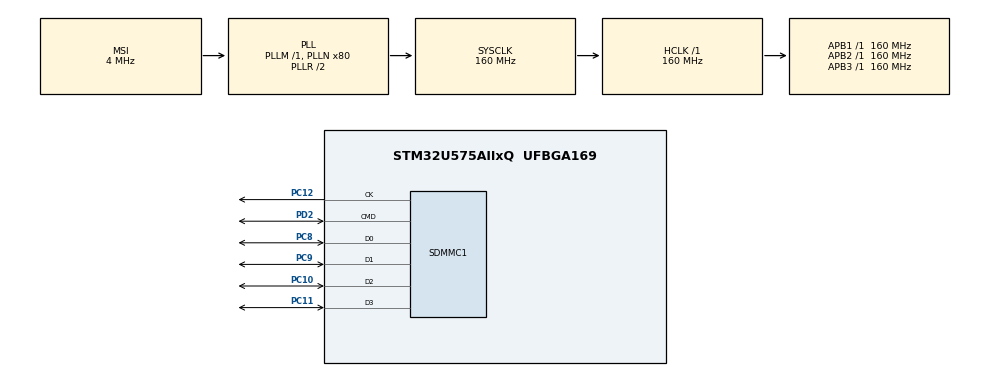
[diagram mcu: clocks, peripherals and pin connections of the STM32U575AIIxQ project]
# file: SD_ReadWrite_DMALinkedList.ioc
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CORTEX_M33_NS.userName=CORTEX_M33
Mcu.Family=STM32U5
Mcu.Name=STM32U575AIIxQ
Mcu.Package=UFBGA169
NVIC.PriorityGroup=NVIC_PRIORITYGROUP_4
NVIC.SDMMC1_IRQn=true\:0\:0\:false\:false\:true\:true\:true\:true
PC10.Mode=SD_4_bits_Wide_bus
PC10.Signal=SDMMC1_D2
PC11.Mode=SD_4_bits_Wide_bus
PC11.Signal=SDMMC1_D3
PC12.Mode=SD_4_bits_Wide_bus
PC12.Signal=SDMMC1_CK
PC8.Mode=SD_4_bits_Wide_bus
PC8.Signal=SDMMC1_D0
PC9.Mode=SD_4_bits_Wide_bus
PC9.Signal=SDMMC1_D1
PD2.Mode=SD_4_bits_Wide_bus
PD2.Signal=SDMMC1_CMD
PWR.PowerMode=PWR_SMPS_SUPPLY
ProjectManager.HeapSize=0x200
ProjectManager.StackSize=0x400
ProjectManager.TargetToolchain=EWARM V8.50
RCC.ADCFreq_Value=16000000
RCC.AHBFreq_Value=160000000
RCC.APB1Freq_Value=160000000
RCC.APB1TimFreq_Value=160000000
RCC.APB2Freq_Value=160000000
RCC.APB2TimFreq_Value=160000000
RCC.APB3Freq_Value=160000000
RCC.CortexFreq_Value=160000000
RCC.DACCLockSelectionVirtual=RCC_DAC1CLKSOURCE_LSI
RCC.DACCLockSelectionVirtualString=RCC_DAC1CLKSOURCE_LSI
RCC.EPOD_VALUE=4000000
RCC.HCLKFreq_Value=160000000
RCC.HSE_VALUE=16000000
RCC.HSI48_VALUE=48000000
RCC.HSI_VALUE=16000000
RCC.LSE_VALUE=32768
RCC.LSIDIV_VALUE=32000
RCC.MSI_VALUE=4000000
RCC.PLLN=80
RCC.SDMMCClockSelection=RCC_SDMMCCLKSOURCE_CLK48
RCC.SYSCLKFreq_VALUE=160000000
RCC.SYSCLKSource=RCC_SYSCLKSOURCE_PLLCLK
RCC.USBFreq_Value=48000000
RCC.VCOOutputFreq_Value=320000000
SDMMC1.ClockDiv=1
SDMMC1.ClockEdge=SDMMC_CLOCK_EDGE_FALLING
VP_ICACHE_VS_ICACHE.Mode=DirectMappedCache
VP_LPBAMQUEUE_VS_QUEUE.Mode=QUEUEMODE
VP_LPBAM_VS_SIG1.Mode=SmartRun
VP_LPBAM_VS_SIG4.Mode=LPDMA1
VP_PWR_VS_DBSignals.Mode=DisableDeadBatterySignals
VP_PWR_VS_LPOM.Mode=PowerOptimisation
VP_PWR_VS_SECSignals.Mode=Security/Privilege
board=custom

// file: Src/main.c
/* USER CODE BEGIN Header */
/**
  ******************************************************************************
  * @file           : main.c
  * @brief          : Main program body
  ******************************************************************************
  * @attention
  *
  * Copyright (c) 2021 STMicroelectronics.
  * All rights reserved.
  *
  * This software is licensed under terms that can be found in the LICENSE file
  * in the root directory of this software component.
  * If no LICENSE file comes with this software, it is provided AS-IS.
  *
  ******************************************************************************
  */
/* USER CODE END Header */
#include "main.h"

/* USER CODE BEGIN PD */
#define DATA_SIZE              ((uint32_t)0x01800000U) /* Data Size 24MB */

#define BUFFER_SIZE            ((uint32_t)0x00000400U) /* 1KB */
#define BUFFER_WORD_SIZE       (BUFFER_SIZE>>2)        /* Buffer size in Word */
#define NB_BLOCK_BUFFER        BUFFER_SIZE / BLOCKSIZE /* Number of Block (512B) by Buffer */
#define BLOCK_WORD_SIZE        (BLOCKSIZE>>2) /* Block size in words */

#define DATA_ADDRESS           ((uint32_t)0x00000000U) /* SD Card Address to write/read data */
#define DATA_PATTERN0          ((uint32_t)0x01000000U) /* Data pattern for buffer0*/
#define DATA_PATTERN1          ((uint32_t)0x02000000U) /* Data pattern for buffer1 */
/* USER CODE END PD */

SD_HandleTypeDef hsd1;

/* USER CODE BEGIN PV */
uint32_t Buffer0[BUFFER_WORD_SIZE];
uint32_t Buffer1[BUFFER_WORD_SIZE];

static SDMMC_DMALinkNodeTypeDef pLinkNode[4];
static SDMMC_DMALinkedListTypeDef Read_LinkedList;
static SDMMC_DMALinkedListTypeDef Write_LinkedList;
SD_DMALinkNodeConfTypeDef LinkNodeConf;
__IO uint8_t TxLnkLstBufCplt, RxLnkLstBufCplt,TxNodeBufCplt,RxNodeBufCplt;

uint32_t Node,RBuff0,RBuff1,WBuff0,WBuff1;
uint32_t ReadError = 0;
/* USER CODE END PV */

void SystemClock_Config(void);
static void SystemPower_Config(void);
static void MX_GPIO_Init(void);
static void MX_ICACHE_Init(void);
static void MX_SDMMC1_SD_Init(void);
/* USER CODE BEGIN PFP */
static void Fill_Buffer(uint32_t *pBuffer, uint16_t BufferLength, uint32_t Offset);
static HAL_StatusTypeDef Buffercmp(uint32_t* pBuffer, uint32_t BufferLength, uint32_t Offset);
void Dynamic_buffer_fill(void);
void Dynamic_buffer_check(void);
/* USER CODE END PFP */

int main(void)
{

  /* MCU Configuration--------------------------------------------------------*/

  /* Reset of all peripherals, Initializes the Flash interface and the Systick. */
  HAL_Init();

  /* Configure the System Power */
  SystemPower_Config();

  /* Configure the system clock */
  SystemClock_Config();

  /* USER CODE BEGIN SysInit */
  /* Add your application code here
     */
 /*##-1- Initialize LEDs mounted on ST32U575I-EV board #####################*/
  BSP_LED_Init(LED_GREEN);
  BSP_LED_Init(LED_BLUE);
  BSP_LED_Init(LED_RED);

  /* USER CODE END SysInit */

  /* Initialize all configured peripherals */
  MX_GPIO_Init();
  MX_ICACHE_Init();
  MX_SDMMC1_SD_Init();
  /* USER CODE BEGIN 2 */
  /* Try to switch to High Speed Mode , if supported by the card */
  HAL_SD_ConfigSpeedBusOperation(&hsd1,SDMMC_SPEED_MODE_HIGH);

  if(HAL_SD_Erase(&hsd1,DATA_ADDRESS,DATA_SIZE/BLOCKSIZE) != HAL_OK)
  {
    Error_Handler();
  }
  /* Wait for the Card Transfer status */
  while(HAL_SD_GetCardState(&hsd1) != HAL_SD_CARD_TRANSFER)
  {
  }
  /* Fill the buffer to send */
  Fill_Buffer(Buffer0, BUFFER_WORD_SIZE, DATA_PATTERN0);
  Fill_Buffer(Buffer1, BUFFER_WORD_SIZE, DATA_PATTERN1);
  /*  Write steps */
  /*Node 0 preparation */
  LinkNodeConf.BufferAddress = (uint32_t) Buffer0;
  LinkNodeConf.BufferSize = BUFFER_SIZE;
  HAL_SDEx_DMALinkedList_BuildNode(&pLinkNode[0], &LinkNodeConf );
  HAL_SDEx_DMALinkedList_InsertNode(&Write_LinkedList, NULL, &pLinkNode[0] );

  /*Node 1 preparation */
  LinkNodeConf.BufferAddress = (uint32_t) Buffer1;
  LinkNodeConf.BufferSize = BUFFER_SIZE;
  HAL_SDEx_DMALinkedList_BuildNode(&pLinkNode[1], &LinkNodeConf );
  HAL_SDEx_DMALinkedList_InsertNode(&Write_LinkedList ,&pLinkNode[0], &pLinkNode[1] );

  /*Enable Circular Linked list mode */
  HAL_SDEx_DMALinkedList_EnableCircularMode(&Write_LinkedList );

  TxLnkLstBufCplt=0;
  TxNodeBufCplt=0;
  BSP_LED_On(LED_BLUE);
  /* Write 24MB  on uSD card using DMA transfer */

  HAL_SDEx_DMALinkedList_WriteBlocks(&hsd1,&Write_LinkedList, DATA_ADDRESS, DATA_SIZE/BLOCKSIZE);

  /* Dynamic buffer filling Process*/
  Dynamic_buffer_fill();

  /* Remove write nodes*/
  HAL_SDEx_DMALinkedList_RemoveNode(&Write_LinkedList,&pLinkNode[1] );
  HAL_SDEx_DMALinkedList_RemoveNode(&Write_LinkedList,&pLinkNode[0] );

  /* Wait for the Card Transfer status */
  while(HAL_SD_GetCardState(&hsd1) != HAL_SD_CARD_TRANSFER)
  {
  }

  /*  Read steps */
  /*Node 0 preparation */
  LinkNodeConf.BufferAddress = (uint32_t) Buffer0;
  LinkNodeConf.BufferSize = BUFFER_SIZE;
  HAL_SDEx_DMALinkedList_BuildNode(&pLinkNode[0], &LinkNodeConf );
  HAL_SDEx_DMALinkedList_InsertNode(&Read_LinkedList, NULL, &pLinkNode[0] );

  /*Node 1 preparation */
  LinkNodeConf.BufferAddress = (uint32_t) Buffer1;
  LinkNodeConf.BufferSize = BUFFER_SIZE;
  HAL_SDEx_DMALinkedList_BuildNode(&pLinkNode[1], &LinkNodeConf );
  HAL_SDEx_DMALinkedList_InsertNode(&Read_LinkedList, &pLinkNode[0], &pLinkNode[1]);

  /*Enable Circular Linked list mode */
  HAL_SDEx_DMALinkedList_EnableCircularMode(&Read_LinkedList );

  /* Read 24MB  from uSD card using DMA transfer */

  HAL_SDEx_DMALinkedList_ReadBlocks(&hsd1,&Read_LinkedList,DATA_ADDRESS,DATA_SIZE/BLOCKSIZE);

  /* Dynamic buffer Check Process*/
  Dynamic_buffer_check();

  BSP_LED_Off(LED_BLUE);

  /* Check the correctness of written dada */

  if (ReadError == 0)
  {

  /* USER CODE END 2 */

  /* Infinite loop */
  /* USER CODE BEGIN WHILE */
  while (1)
  {
      BSP_LED_Toggle(LED_GREEN);
      HAL_Delay(200);
    /* USER CODE END WHILE */

    /* USER CODE BEGIN 3 */
  }
  }
  else
  {
    while(1)
    {
      BSP_LED_Toggle(LED_RED);
      HAL_Delay(200);
    }
  }
  /* USER CODE END 3 */
}

void SystemClock_Config(void)
{
  RCC_OscInitTypeDef RCC_OscInitStruct = {0};
  RCC_ClkInitTypeDef RCC_ClkInitStruct = {0};

  /** Configure the main internal regulator output voltage
  */
  if (HAL_PWREx_ControlVoltageScaling(PWR_REGULATOR_VOLTAGE_SCALE1) != HAL_OK)
  {
    Error_Handler();
  }

  /** Initializes the CPU, AHB and APB buses clocks
  */
  RCC_OscInitStruct.OscillatorType = RCC_OSCILLATORTYPE_HSI48|RCC_OSCILLATORTYPE_MSI;
  RCC_OscInitStruct.HSI48State = RCC_HSI48_ON;
  RCC_OscInitStruct.MSIState = RCC_MSI_ON;
  RCC_OscInitStruct.MSICalibrationValue = RCC_MSICALIBRATION_DEFAULT;
  RCC_OscInitStruct.MSIClockRange = RCC_MSIRANGE_4;
  RCC_OscInitStruct.PLL.PLLState = RCC_PLL_ON;
  RCC_OscInitStruct.PLL.PLLSource = RCC_PLLSOURCE_MSI;
  RCC_OscInitStruct.PLL.PLLMBOOST = RCC_PLLMBOOST_DIV1;
  RCC_OscInitStruct.PLL.PLLM = 1;
  RCC_OscInitStruct.PLL.PLLN = 80;
  RCC_OscInitStruct.PLL.PLLP = 2;
  RCC_OscInitStruct.PLL.PLLQ = 2;
  RCC_OscInitStruct.PLL.PLLR = 2;
  RCC_OscInitStruct.PLL.PLLRGE = RCC_PLLVCIRANGE_0;
  RCC_OscInitStruct.PLL.PLLFRACN = 0;
  if (HAL_RCC_OscConfig(&RCC_OscInitStruct) != HAL_OK)
  {
    Error_Handler();
  }

  /** Initializes the CPU, AHB and APB buses clocks
  */
  RCC_ClkInitStruct.ClockType = RCC_CLOCKTYPE_HCLK|RCC_CLOCKTYPE_SYSCLK
                              |RCC_CLOCKTYPE_PCLK1|RCC_CLOCKTYPE_PCLK2
                              |RCC_CLOCKTYPE_PCLK3;
  RCC_ClkInitStruct.SYSCLKSource = RCC_SYSCLKSOURCE_PLLCLK;
  RCC_ClkInitStruct.AHBCLKDivider = RCC_SYSCLK_DIV1;
  RCC_ClkInitStruct.APB1CLKDivider = RCC_HCLK_DIV1;
  RCC_ClkInitStruct.APB2CLKDivider = RCC_HCLK_DIV1;
  RCC_ClkInitStruct.APB3CLKDivider = RCC_HCLK_DIV1;

  if (HAL_RCC_ClockConfig(&RCC_ClkInitStruct, FLASH_LATENCY_4) != HAL_OK)
  {
    Error_Handler();
  }
}

/**
  * @brief Power Configuration
  * @retval None
  */
static void SystemPower_Config(void)
{

  /*
   * Disable the internal Pull-Up in Dead Battery pins of UCPD peripheral
   */
  HAL_PWREx_DisableUCPDDeadBattery();

  /*
   * Switch to SMPS regulator instead of LDO
   */
  if (HAL_PWREx_ConfigSupply(PWR_SMPS_SUPPLY) != HAL_OK)
  {
    Error_Handler();
  }
}

static void MX_ICACHE_Init(void)
{

  /** Enable instruction cache in 1-way (direct mapped cache)
  */
  if (HAL_ICACHE_ConfigAssociativityMode(ICACHE_1WAY) != HAL_OK)
  {
    Error_Handler();
  }
  if (HAL_ICACHE_Enable() != HAL_OK)
  {
    Error_Handler();
  }

}

static void MX_SDMMC1_SD_Init(void)
{

  hsd1.Instance = SDMMC1;
  hsd1.Init.ClockEdge = SDMMC_CLOCK_EDGE_FALLING;
  hsd1.Init.ClockPowerSave = SDMMC_CLOCK_POWER_SAVE_DISABLE;
  hsd1.Init.BusWide = SDMMC_BUS_WIDE_4B;
  hsd1.Init.HardwareFlowControl = SDMMC_HARDWARE_FLOW_CONTROL_DISABLE;
  hsd1.Init.ClockDiv = 1;
  if (HAL_SD_Init(&hsd1) != HAL_OK)
  {
    Error_Handler();
  }

}

static void MX_GPIO_Init(void)
{

  /* GPIO Ports Clock Enable */
  __HAL_RCC_GPIOC_CLK_ENABLE();
  __HAL_RCC_GPIOD_CLK_ENABLE();

}

/* USER CODE BEGIN 4 */
/**
  * @brief Dynamic buffer fill
  * @param None
  * @retval None
  */
void Dynamic_buffer_fill(void)
{

  while ((WBuff0+WBuff1) <= (DATA_SIZE/BUFFER_SIZE))
  {
    /* Wait for Node transfer completed or the whole transfer completed */
    while ((TxNodeBufCplt == 0) && (TxLnkLstBufCplt ==0));

    TxNodeBufCplt = 0;

    if(Node == 0)
    {
      WBuff0++;
      /*Start processing of Node0 buffer, we should lock the node*/
      HAL_SDEx_DMALinkedList_LockNode(&pLinkNode[0]);

      Fill_Buffer(Buffer0, BUFFERSIZE, DATA_PATTERN0 + (WBuff0 * (uint32_t)0x00010000));

      /*Finish processing of Node1 buffer, we can unlock the node*/
      HAL_SDEx_DMALinkedList_UnlockNode(&pLinkNode[0]);

      /*Set Next Node*/
      Node = 1;
    }
    else if(Node == 1)
    {
      WBuff1++;
      /*Start processing of Node1 buffer, we should lock the node*/
      HAL_SDEx_DMALinkedList_LockNode(&pLinkNode[1]);

      Fill_Buffer(Buffer1, BUFFERSIZE, DATA_PATTERN1 + (WBuff1 * (uint32_t)0x00010000));

      /*Finish processing of Node1 buffer, we can unlock the node*/
      HAL_SDEx_DMALinkedList_UnlockNode(&pLinkNode[1]);

      /*Set Next Node*/
      Node = 0;
    }
  }
  TxLnkLstBufCplt = 0;
  Node = 0;
}

/**
  * @brief Dynamic buffer check
  * @param None
  * @retval None
  */
void Dynamic_buffer_check(void)
{

  while ((RBuff0+RBuff1) < (DATA_SIZE/BUFFER_SIZE))
  {
    /* Wait for Node transfer completed or the whole transfer completed */
    while ((RxNodeBufCplt == 0) && (RxLnkLstBufCplt ==0));

    RxNodeBufCplt = 0;

    if(Node == 0)
    {
      /*Start processing of Node0 buffer, we should lock the node*/
      HAL_SDEx_DMALinkedList_LockNode(&pLinkNode[0]);

      ReadError += Buffercmp(Buffer0, BUFFERSIZE, DATA_PATTERN0 + (RBuff0 * (uint32_t)0x00010000));

      /*Finish processing of Node0 buffer, we can unlock the node*/
      HAL_SDEx_DMALinkedList_UnlockNode(&pLinkNode[0]);

      RBuff0++;
      /*Next Node*/
      Node = 1;
    }
    else if(Node == 1)
    {
      /*Start processing of Node0 buffer, we should lock the node*/
      HAL_SDEx_DMALinkedList_LockNode(&pLinkNode[1]);

      ReadError += Buffercmp(Buffer1, BUFFERSIZE, DATA_PATTERN1 + (RBuff1 * (uint32_t)0x00010000));

      /*Finish processing of Node1 buffer, we can unlock the node*/
      HAL_SDEx_DMALinkedList_UnlockNode(&pLinkNode[1]);

      RBuff1++;
      /*Next Node*/
      Node = 0;
    }
  }
  RxLnkLstBufCplt = 0;
  Node = 0;
}

/**
  * @brief Rx Transfer completed callbacks
  * @param hsd: SD handle
  * @retval None
  */
void HAL_SDEx_DMALinkedList_ReadCpltCallback(SD_HandleTypeDef *hsd)
{
  RxLnkLstBufCplt = 1;
}

/**
  * @brief Tx Transfer completed callbacks
  * @param hsd: SD handle
  * @retval None
  */
void HAL_SDEx_DMALinkedList_WriteCpltCallback(SD_HandleTypeDef *hsd)
{
  TxLnkLstBufCplt = 1;
}

/**
  * @brief Read DMA Linked list node Transfer completed callbacks
  * @param hsd: SD handle
  * @retval None
  */
void HAL_SDEx_Read_DMALnkLstBufCpltCallback(SD_HandleTypeDef *hsd)
{
  RxNodeBufCplt = 1;
}

/**
  * @brief Read DMA Linked list node Transfer completed callbacks
  * @param hsd: SD handle
  * @retval None
  */
void HAL_SDEx_Write_DMALnkLstBufCpltCallback(SD_HandleTypeDef *hsd)
{
  TxNodeBufCplt = 1;
}

/**
  * @brief SD error callbacks
  * @param hsd: SD handle
  * @retval None
  */
void HAL_SD_ErrorCallback(SD_HandleTypeDef *hsd)
{
  Error_Handler();
}

/**
  * @brief  Fills the goal 32-bit length buffer
  * @param  pBuffer: pointer on the Buffer to fill
  * @param  BufferLength: length of the buffer to fill
  * @param  Offset: first value to fill on the Buffer
  * @retval None
  */
static void Fill_Buffer(uint32_t *pBuffer, uint16_t BufferLength, uint32_t Offset)
{
  uint16_t IndexTmp;

  /* Put in global buffer same values */
  for ( IndexTmp = 0; IndexTmp < BufferLength; IndexTmp++ )
  {
    pBuffer[IndexTmp] = IndexTmp + Offset;
  }

}

/**
  * @brief  Compares two buffers.
  * @param  pBuffer, pBuffer1: buffers to be compared.
  * @param  BufferLength: buffer's length
  * @retval PASSED: pBuffer identical to pBuffer1
  *         FAILED: pBuffer differs from pBuffer1
  */
static HAL_StatusTypeDef Buffercmp(uint32_t* pBuffer, uint32_t BufferLength, uint32_t Offset)
{
  uint32_t counter = 0;
  while(BufferLength--)
  {
    if(pBuffer[counter] != counter + Offset)
    {
      return HAL_ERROR;
    }
    counter++;
  }
  return HAL_OK;
}
/* USER CODE END 4 */

void Error_Handler(void)
{
  /* USER CODE BEGIN Error_Handler_Debug */
  /* User can add his own implementation to report the HAL error return state */
  BSP_LED_Off(LED_GREEN);
  BSP_LED_Off(LED_BLUE);
  __disable_irq();
  while (1)
  {
    /* Toggle LED_RED: Error */
    BSP_LED_Toggle(LED_RED);
    HAL_Delay(200);
  }
  /* USER CODE END Error_Handler_Debug */
}
